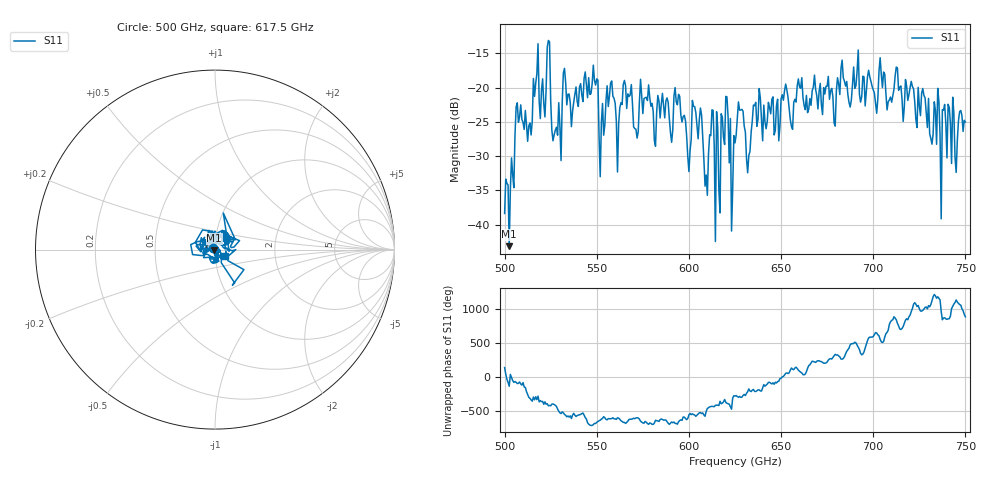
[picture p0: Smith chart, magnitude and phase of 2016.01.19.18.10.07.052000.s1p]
!Created with skrf (http://scikit-rf.org).
# GHz S RI R 50.0
!freq ReS11 ImS11
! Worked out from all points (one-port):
!   401 points, 500 GHz to 750 GHz, reference 50 ohm
!   lowest |S11| = -43.2 dB at 502.5 GHz (marker M1), VSWR 1.01, Z = 49.5 - j0.46 ohm
!   |S11| at or under -10 dB: start of sweep to end of sweep
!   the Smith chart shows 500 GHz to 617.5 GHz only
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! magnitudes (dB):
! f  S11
! 500 GHz  -38.4
! 502.5 GHz  -43.2
! 507.5 GHz  -25.1
! 513.8 GHz  -25.2
! 516.9 GHz  -19.4
! 520.6 GHz  -18.7
! 523.8 GHz  -13.1
! 526.9 GHz  -26.9
! 531.2 GHz  -22.2
! 549.4 GHz  -19.6
! 552.5 GHz  -25.1
! 556.9 GHz  -21.3
! 562.5 GHz  -23.0
! 593.8 GHz  -22.5
! 600 GHz  -32.3
! 606.2 GHz  -23.0
! 609.4 GHz  -32.8
! 612.5 GHz  -23.3
! 615.6 GHz  -25.7
! 619.4 GHz  -28.3
! 625 GHz  -28.1
! 628.1 GHz  -23.3
! 631.9 GHz  -32.4
! 637.5 GHz  -24.6
! 656.2 GHz  -26.1
! 687.5 GHz  -22.9
! 718.8 GHz  -21.9
! 750 GHz  -25.0
